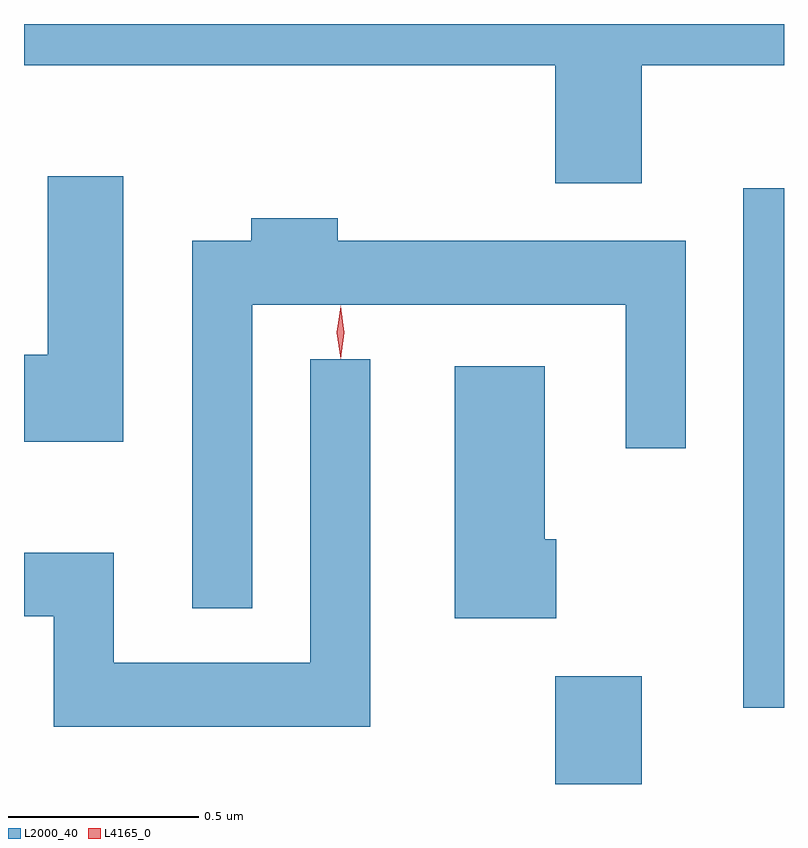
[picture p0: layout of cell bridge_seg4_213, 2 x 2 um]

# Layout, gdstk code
import gdstk
lib = gdstk.Library(unit=1e-6, precision=1e-09)
def R(c, l, rs):  # rectangles x0, y0, x1, y1
    for r in rs: c.add(gdstk.rectangle(r[:2], r[2:], *l))
def P(c, l, *ps):  # polygons
    for p in ps: c.add(gdstk.Polygon(p, *l))
L2000_40 = (2000, 40)
L4165_0 = (4165, 0)

bridge_seg4_213 = lib.new_cell('bridge_seg4_213')
R(bridge_seg4_213, L2000_40, [(1079.471,1257.325,1079.699,1257.609), (1079.966,1257.526,1080.073,1258.893)])
P(bridge_seg4_213, L2000_40, [(1078.073,1259.216),(1079.471,1259.216),(1079.471,1258.906),(1079.699,1258.906),(1079.699,1259.216),(1080.073,1259.216),(1080.073,1259.325),(1078.073,1259.325)],
  [(1078.334,1258.924),(1078.136,1258.924),(1078.136,1258.454),(1078.073,1258.454),(1078.073,1258.226),(1078.334,1258.226)],
  [(1078.674,1258.586),(1079.656,1258.586),(1079.656,1258.208),(1079.814,1258.208),(1079.814,1258.754),(1078.899,1258.754),(1078.899,1258.814),(1078.671,1258.814),(1078.671,1258.754),(1078.516,1258.754),(1078.516,1257.788),(1078.674,1257.788)],
  [(1078.984,1258.443),(1078.826,1258.443),(1078.826,1257.644),(1078.309,1257.644),(1078.309,1257.934),(1078.073,1257.934),(1078.073,1257.766),(1078.151,1257.766),(1078.151,1257.476),(1078.984,1257.476)],
  [(1079.474,1257.969),(1079.444,1257.969),(1079.444,1258.424),(1079.206,1258.424),(1079.206,1257.761),(1079.474,1257.761)])
P(bridge_seg4_213, L4165_0, [(1078.906,1258.447),(1078.906,1258.447),(1078.896,1258.514),(1078.906,1258.58),(1078.906,1258.581),(1078.907,1258.58),(1078.916,1258.514),(1078.907,1258.447)],
  [(1078.906,1258.444),(1078.906,1258.444),(1078.896,1258.513),(1078.906,1258.582),(1078.906,1258.583),(1078.907,1258.582),(1078.916,1258.513),(1078.907,1258.444)])

lib.write_gds('bridge_seg4_213.gds')
